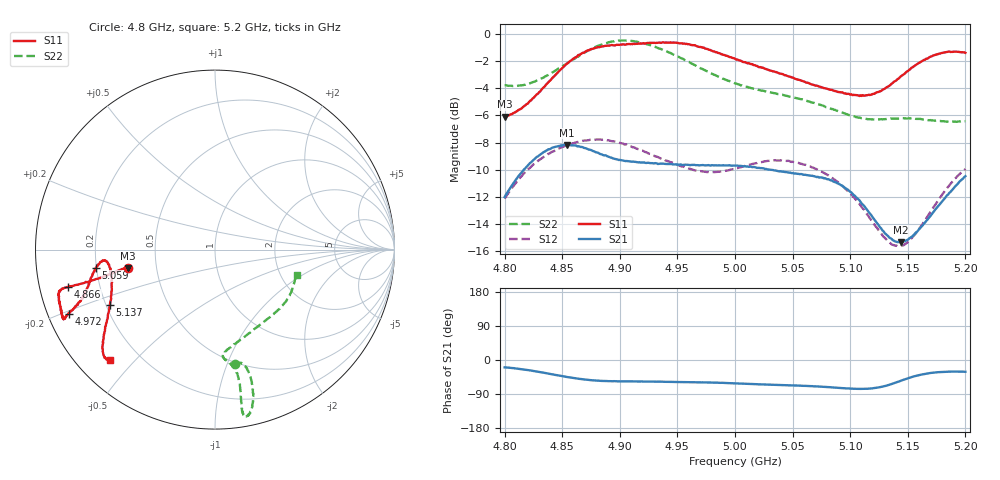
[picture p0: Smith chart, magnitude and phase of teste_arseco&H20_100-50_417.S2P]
! Network Analyzer HP8722D
! Hewlett-Packard
! Data name: Linha & Wilkinson
! Saver's name: Rodrigo Anjos
! Comments: Teste da utilização de aquisição
! continua pelo VNA HP8722D
! Time and date: 6/5/2025 16:02
!  Frequency  S11  S21  S12  S22
# HZ  S  MA R 50
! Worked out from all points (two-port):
!   401 points, 4.8 GHz to 5.2 GHz, reference 50 ohm
!   highest |S21| = -8.17 dB at 4.854 GHz (marker M1); lowest = -15.3 dB at 5.144 GHz (marker M2)
!   |S21| within 3 dB of the highest: 4.806 GHz to 5.093 GHz (287.1 MHz wide, 5.8 % of centre); 5.191695 GHz to end of sweep
!   lowest |S11| = -6.1 dB at 4.8 GHz (marker M3), VSWR 2.97, Z = 17 - j4.63 ohm
!   |S11| at or under -10 dB: nowhere
!   |S22| runs from -6.5 to -0.5 dB; largest |S21 - S12| = 0.62
!   S11 on the Smith chart (normalised r, x): 4.8 GHz: 0.34, -0.09; 4.866 GHz: 0.09, -0.12; 4.972 GHz: 0.06, -0.21; 5.059 GHz: 0.20, -0.07; 5.137 GHz: 0.22, -0.24; 5.2 GHz: 0.09, -0.43
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4.8e9  0.4958 -168.1  0.2512 -19.5  0.2481 -140.7  0.6473 -80.3
4.827e9  0.5929 -167.0  0.3498 -29.8  0.3367 -144.5  0.6706 -75.5
4.854e9  0.7761 -165.7  0.3903 -44.8  0.3891 -149.6  0.7784 -74.6
4.866e9  0.8423 -165.8  0.3838 -50.1  0.4024 -151.6  0.8365 -75.3
4.867e9  0.8475 -165.7  0.3839 -50.6  0.4035 -151.8  0.843 -75.4
4.879e9  0.8883 -165.4  0.3671 -54.2  0.4083 -153.9  0.8955 -76.5
4.898e9  0.9109 -162.8  0.3452 -56.1  0.3986 -156.3  0.9417 -78.7
4.913e9  0.9178 -159.7  0.3387 -56.4  0.3815 -156.9  0.9374 -80.1
4.934e9  0.929 -156.2  0.3328 -57.4  0.3509 -155.5  0.8837 -80.5
4.972e9  0.8887 -156.3  0.3293 -58.8  0.3115 -146.1  0.7413 -79.7
5e9  0.8103 -158.9  0.3276 -61.7  0.3197 -137.1  0.6579 -81.3
5.036e9  0.7234 -165.5  0.3139 -65.9  0.3423 -134.3  0.6023 -85.6
5.059e9  0.6698 -171.3  0.3037 -68.2  0.3313 -135.9  0.5724 -84.5
5.067e9  0.6507 -172.9  0.301 -68.9  0.3228 -136.5  0.5592 -82.7
5.085e9  0.6197 -174.2  0.2871 -72.4  0.294 -138.2  0.5289 -75.8
5.103e9  0.5967 -171.4  0.2556 -75.9  0.2506 -138.5  0.4981 -65.2
5.134e9  0.6442 -154.2  0.1782 -65.4  0.1711 -120.8  0.4867 -43.4
5.137e9  0.6604 -152.3  0.1744 -62.4  0.1675 -116.9  0.4879 -41.5
5.144e9  0.6981 -148.8  0.171 -54.7  0.1658 -107.7  0.4882 -37.4
5.156e9  0.7625 -143.5  0.1838 -42.7  0.1826 -92.9  0.4888 -31.5
5.174e9  0.8374 -138.3  0.2263 -32.8  0.2357 -80.2  0.4791 -23.9
5.2e9  0.8515 -133.5  0.2997 -31.1  0.3186 -76.7  0.4774 -17.5
